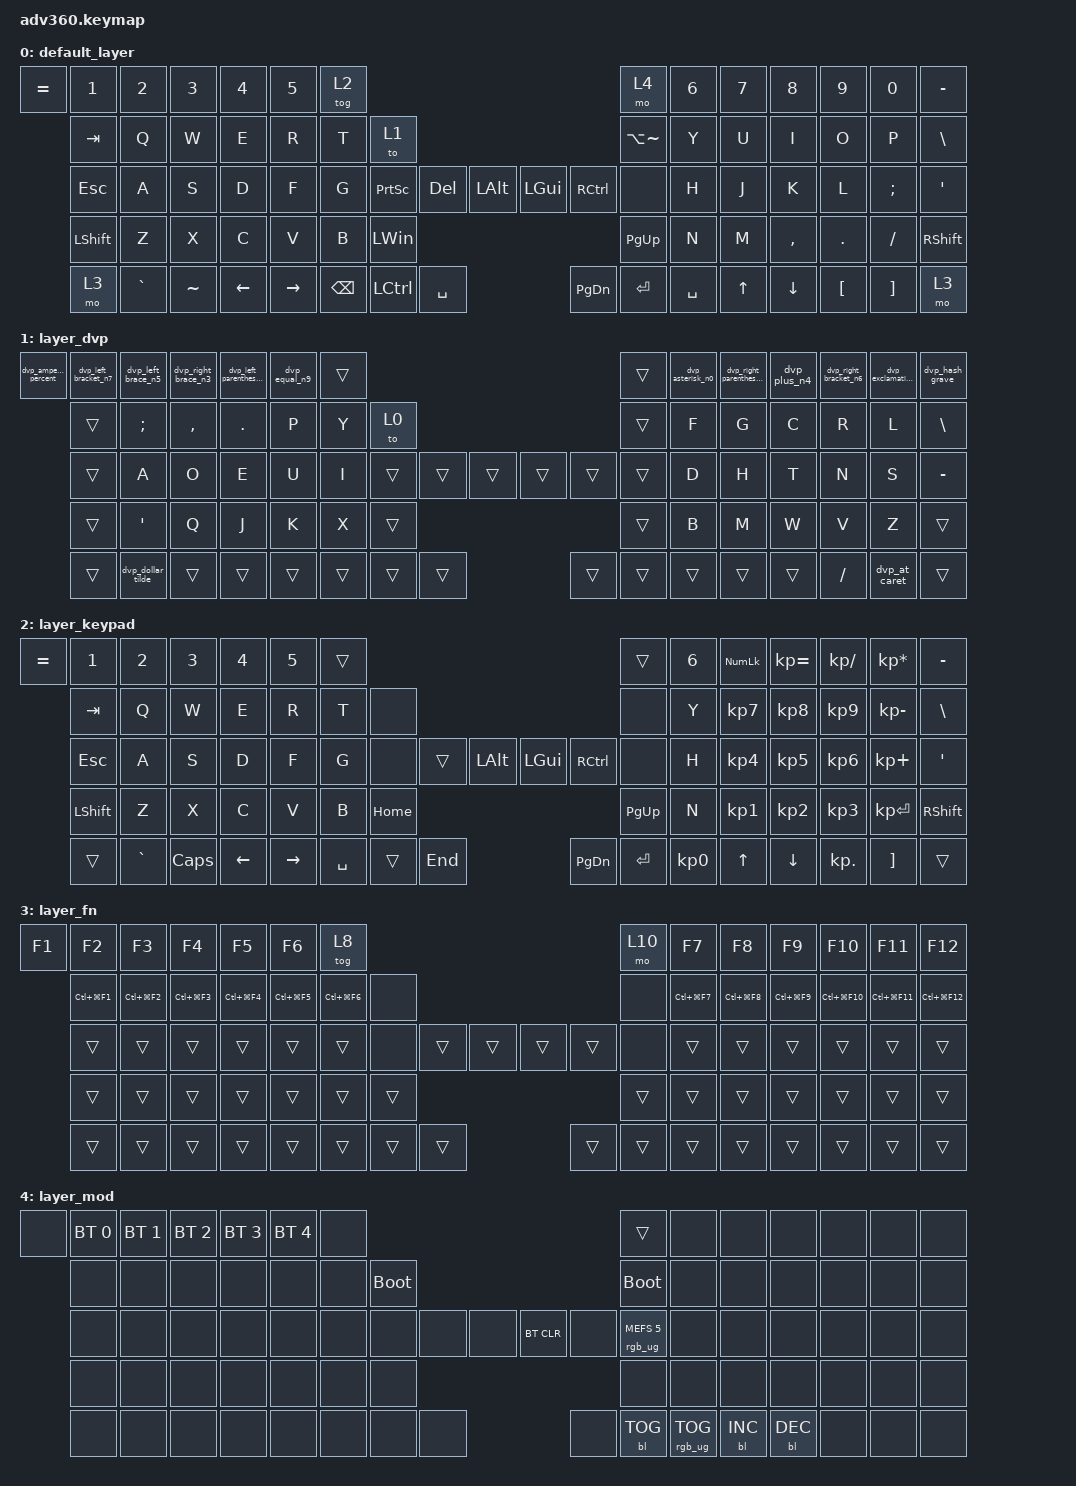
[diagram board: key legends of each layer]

/*
 * Copyright (c) 2020 The ZMK Contributors
 *
 * SPDX-License-Identifier: MIT
 */


/* THIS FILE WAS GENERATED!
 *
 * This file was generated automatically. You may or may not want to
 * edit it directly.
 */

#include <behaviors.dtsi>
#include <dt-bindings/zmk/keys.h>
#include <dt-bindings/zmk/bt.h>
#include <dt-bindings/zmk/rgb.h>
#include <dt-bindings/zmk/backlight.h>

/ {
  behaviors {
    #include "macros.dtsi"
    #include "version.dtsi"

    hm: homerow_mods {
        compatible = "zmk,behavior-hold-tap";
        label = "HOMEROW_MODS";
        #binding-cells = <2>;
        tapping-term-ms = <200>;
        quick_tap_ms = <175>;
        flavor = "tap-preferred";
        bindings = <&kp>, <&kp>;
    };
  };

    keymap {
        compatible = "zmk,keymap";


        default_layer {
            bindings = <
 &kp EQUAL     &kp N1     &kp N2    &kp N3     &kp N4  &kp N5                     &tog 2                                                                         &mo 4  &kp N6  &kp N7     &kp N8    &kp N9    &kp N0  &kp MINUS
   &kp TAB      &kp Q      &kp W     &kp E      &kp R   &kp T                      &to 1                                                                 &kp LA(TILDE)   &kp Y   &kp U      &kp I     &kp O     &kp P   &kp BSLH
   &kp ESC      &kp A      &kp S     &kp D      &kp F   &kp G            &kp PRINTSCREEN    &kp DEL      &kp LALT                   &kp LGUI  &kp RCTRL          &none   &kp H   &kp J      &kp K     &kp L  &kp SEMI    &kp SQT
 &kp LSHFT      &kp Z      &kp X     &kp C      &kp V   &kp B                                        &kp LEFT_WIN                  &kp PG_UP                             &kp N   &kp M  &kp COMMA   &kp DOT  &kp FSLH  &kp RSHFT
     &mo 3  &kp GRAVE  &kp TILDE  &kp LEFT  &kp RIGHT                           &kp BSPC  &kp LCTRL     &kp SPACE                  &kp PG_DN  &kp ENTER      &kp SPACE          &kp UP   &kp DOWN  &kp LBKT  &kp RBKT      &mo 3
            >;
        };

        layer_dvp {
            bindings = <
 &dvp_ampersand_percent  &dvp_left_bracket_n7  &dvp_left_brace_n5  &dvp_right_brace_n3  &dvp_left_parenthesis_n1  &dvp_equal_n9            &trans                                                  &trans  &dvp_asterisk_n0  &dvp_right_parenthesis_n2  &dvp_plus_n4  &dvp_right_bracket_n6  &dvp_exclamation_n8  &dvp_hash_grave
                 &trans         &kp SEMICOLON           &kp COMMA           &kp PERIOD                     &kp P          &kp Y             &to 0                                                  &trans             &kp F                      &kp G         &kp C                  &kp R                &kp L    &kp BACKSLASH
                 &trans                 &kp A               &kp O                &kp E                     &kp U          &kp I            &trans  &trans  &trans                  &trans  &trans  &trans             &kp D                      &kp H         &kp T                  &kp N                &kp S        &kp MINUS
                 &trans        &kp APOSTROPHE               &kp Q                &kp J                     &kp K          &kp X                            &trans                  &trans                             &kp B                      &kp M         &kp W                  &kp V                &kp Z           &trans
                 &trans     &dvp_dollar_tilde              &trans               &trans                    &trans                           &trans  &trans  &trans                  &trans  &trans  &trans                                       &trans        &trans              &kp SLASH        &dvp_at_caret           &trans
            >;
        };

        layer_keypad {
            bindings = <
 &kp EQUAL     &kp N1    &kp N2    &kp N3     &kp N4  &kp N5               &trans                                                             &trans  &kp N6  &kp KP_NUM  &kp KP_EQUAL  &kp KP_DIVIDE  &kp KP_MULTIPLY  &kp MINUS
   &kp TAB      &kp Q     &kp W     &kp E      &kp R   &kp T                &none                                                              &none   &kp Y   &kp KP_N7     &kp KP_N8      &kp KP_N9     &kp KP_MINUS   &kp BSLH
   &kp ESC      &kp A     &kp S     &kp D      &kp F   &kp G                &none  &trans  &kp LALT                   &kp LGUI  &kp RCTRL      &none   &kp H   &kp KP_N4     &kp KP_N5      &kp KP_N6      &kp KP_PLUS    &kp SQT
 &kp LSHFT      &kp Z     &kp X     &kp C      &kp V   &kp B                               &kp HOME                  &kp PG_UP                         &kp N   &kp KP_N1     &kp KP_N2      &kp KP_N3     &kp KP_ENTER  &kp RSHFT
    &trans  &kp GRAVE  &kp CAPS  &kp LEFT  &kp RIGHT                    &kp SPACE  &trans   &kp END                  &kp PG_DN  &kp ENTER  &kp KP_N0              &kp UP      &kp DOWN     &kp KP_DOT         &kp RBKT     &trans
            >;
        };

        layer_fn {
            bindings = <
         &kp F1          &kp F2          &kp F3          &kp F4          &kp F5          &kp F6            &tog 8                                                  &mo 10          &kp F7          &kp F8          &kp F9          &kp F10          &kp F11          &kp F12
 &kp LC(LG(F1))  &kp LC(LG(F2))  &kp LC(LG(F3))  &kp LC(LG(F4))  &kp LC(LG(F5))  &kp LC(LG(F6))             &none                                                   &none  &kp LC(LG(F7))  &kp LC(LG(F8))  &kp LC(LG(F9))  &kp LC(LG(F10))  &kp LC(LG(F11))  &kp LC(LG(F12))
         &trans          &trans          &trans          &trans          &trans          &trans             &none  &trans  &trans                  &trans  &trans   &none          &trans          &trans          &trans           &trans           &trans           &trans
         &trans          &trans          &trans          &trans          &trans          &trans                            &trans                  &trans                          &trans          &trans          &trans           &trans           &trans           &trans
         &trans          &trans          &trans          &trans          &trans                            &trans  &trans  &trans                  &trans  &trans  &trans                          &trans          &trans           &trans           &trans           &trans
            >;
        };

        layer_mod {
            bindings = <
  &none  &bt BT_SEL 0  &bt BT_SEL 1  &bt BT_SEL 2  &bt BT_SEL 3  &bt BT_SEL 4                  &none                                                                          &trans   &none       &none       &none   &none   &none   &none
  &none         &none         &none         &none         &none         &none            &bootloader                                                                     &bootloader   &none       &none       &none   &none   &none   &none
  &none         &none         &none         &none         &none         &none                  &none   &none   &none                  &bt BT_CLR       &none  &rgb_ug RGB_MEFS_CMD 5   &none       &none       &none   &none   &none   &none
  &none         &none         &none         &none         &none         &none                                  &none                       &none                                       &none       &none       &none   &none   &none   &none
  &none         &none         &none         &none         &none                                &none   &none   &none                       &none  &bl BL_TOG         &rgb_ug RGB_TOG          &bl BL_INC  &bl BL_DEC   &none   &none   &none
            >;
        };

    };
};
